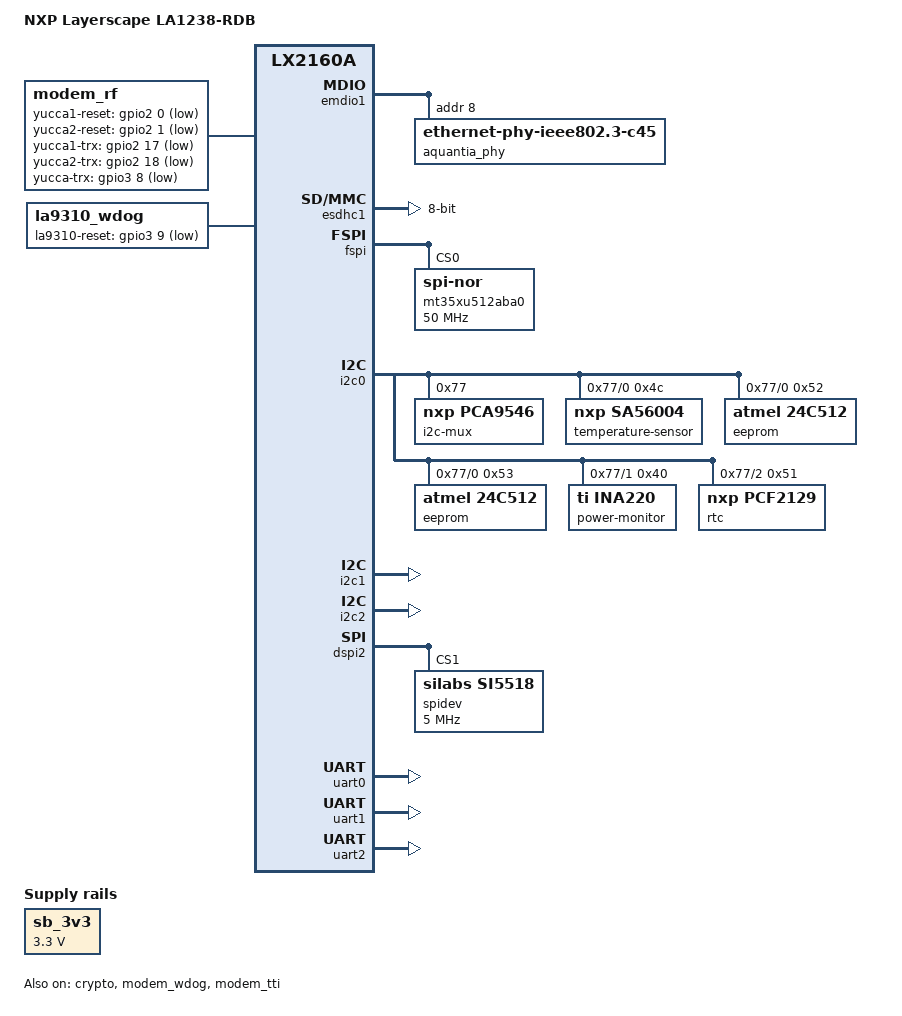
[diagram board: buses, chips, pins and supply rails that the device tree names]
// SPDX-License-Identifier: (GPL-2.0 OR MIT)
//
// Device Tree file for LA1238RDB
//
// Copyright 2021-2022 NXP

/dts-v1/;

#include "fsl-lx2160a.dtsi"

/ {
	model = "NXP Layerscape LA1238-RDB";
	compatible = "fsl,la1238-rdb", "fsl,lx2160a";

	aliases {
		crypto = &crypto;
		serial0 = &uart0;
		serial1 = &uart1;
	};

	chosen {
		stdout-path = "serial0:115200n8";
	};

	sb_3v3: regulator-sb3v3 {
		compatible = "regulator-fixed";
		regulator-name = "3v3_vbus";
		regulator-min-microvolt = <3300000>;
		regulator-max-microvolt = <3300000>;
		regulator-boot-on;
		regulator-always-on;
	};

	modem_wdog {
		compatible = "modem_wdog";
		reg = <0x0 0x0 0x0 0x0>;
		interrupt-cells = <3>;
		interrupts = <GIC_SPI 10 IRQ_TYPE_EDGE_RISING>;
		modem-reset-gpio = <&gpio3 6 GPIO_ACTIVE_LOW>;
		status = "okay";
	};

	modem_rf {
		compatible = "modem_rf";
		yucca1-reset-gpio = <&gpio2 0 GPIO_ACTIVE_LOW>;
		yucca2-reset-gpio = <&gpio2 1 GPIO_ACTIVE_LOW>;
		yucca1-trx-gpio = <&gpio2 17 GPIO_ACTIVE_LOW>;
		yucca2-trx-gpio = <&gpio2 18 GPIO_ACTIVE_LOW>;
		yucca-trx-gpio = <&gpio3 8 GPIO_ACTIVE_LOW>;
	};

	modem_tti {
		compatible = "modem_tti1";
		reg = <0x0 0x0 0x0 0x0>;
		interrupt-cells = <3>;
		interrupts = <GIC_SPI 0 IRQ_TYPE_EDGE_RISING>,
			     <GIC_SPI 1 IRQ_TYPE_EDGE_RISING>;
		status = "okay";
	};

	la9310_wdog: la9310_wdog@0 {
		compatible = "la9310_wdog";
		la9310-reset-gpio = <&gpio3 9 1>;
	};

	soc {
		ptp-timer@8b95000 {
			clocks = <&clockgen 0x04 0x01>;
			compatible = "fsl,dpaa2-ptp";
			fsl,cksel = <0x00>;
			fsl,extts-fifo;
			fsl,max-adj = <0xEE6B27F>;
			fsl,tclk-period = <0x0a>;
			fsl,tmr-add = <0xCCCCCCCD>;
			fsl,tmr-fiper1 = <0x3b9ac9f6>;
			fsl,tmr-fiper2 = <0x3b9ac9f6>;
			fsl,tmr-fiper3 = <0x3b9ac9f6>;
			fsl,tmr-prsc = <0xA>;
			little-endian;
			reg = <0x00 0x8b95000 0x00 0x100>;
		};

	};
};

&crypto {
	status = "okay";
};

&emdio1 {
	status = "okay";
};

&esdhc1 {
	mmc-hs200-1_8v;
	bus-width = <8>;
	status = "okay";
};

&fspi {
	status = "okay";

	mt35xu512aba0: flash@0 {
		#address-cells = <1>;
		#size-cells = <1>;
		compatible = "jedec,spi-nor";
		m25p,fast-read;
		spi-max-frequency = <50000000>;
		reg = <0>;
		spi-rx-bus-width = <8>;
		spi-tx-bus-width = <8>;
	};
};

&i2c0 {
	status = "okay";
	i2c-mux@77 {
		compatible = "nxp,pca9546";
		reg = <0x77>;
		#address-cells = <1>;
		#size-cells = <0>;
		i2c-mux-never-disable;

		i2c@0 {
			#address-cells = <1>;
			#size-cells = <0>;
			reg = <0>;

			temperature-sensor@4c {
				compatible = "nxp,sa56004";
				reg = <0x4c>;
			};

			eeprom@52 {
				compatible = "atmel,24c512";
				reg = <0x52>;
			};

			eeprom@53 {
				compatible = "atmel,24c512";
				reg = <0x53>;
			};
		};

		i2c@1 {
			#address-cells = <1>;
			#size-cells = <0>;
			reg = <1>;

			power-monitor@40 {
				compatible = "ti,ina220";
				reg = <0x40>;
				shunt-resistor = <500>;
			};
		};

		i2c@2 {
			#address-cells = <1>;
			#size-cells = <0>;
			reg = <2>;

			rtc@51 {
				compatible = "nxp,pcf2129";
				reg = <0x51>;
			};
		};
	};
};

&i2c1 {
	status = "okay";
};

&i2c2 {
	status = "okay";
};

&dspi2 {
	status = "okay";
	spidev@1 {
		#address-cells = <1>;
		#size-cells = <1>;
		compatible = "silabs,si5518";
		reg = <1>; /* CS1 */
		spi-max-frequency = <5000000>;
	};
};

&uart0 {
	status = "okay";
};

&uart1 {
	status = "okay";
};

&uart2 {
	status = "okay";
};

&emdio1 {
	aquantia_phy: ethernet-phy@8 {
		compatible = "ethernet-phy-ieee802.3-c45";
		interrupts = <GIC_SPI 11 IRQ_TYPE_LEVEL_HIGH>;
		reg = <0x8>;
	};
};

&dpmac3 {
	phy-handle = <&aquantia_phy>;
	phy-connection-type = "usxgmii";
};

&dpmac5 {
};

&map0 {
    trip = <&cluster6_7_alert>;
    cooling-device =
        <&cpu0 THERMAL_NO_LIMIT THERMAL_NO_LIMIT>,
        <&cpu100 THERMAL_NO_LIMIT THERMAL_NO_LIMIT>,
        <&cpu200 THERMAL_NO_LIMIT THERMAL_NO_LIMIT>,
        <&cpu300 THERMAL_NO_LIMIT THERMAL_NO_LIMIT>,
        <&cpu400 THERMAL_NO_LIMIT THERMAL_NO_LIMIT>,
        <&cpu500 THERMAL_NO_LIMIT THERMAL_NO_LIMIT>,
        <&cpu600 THERMAL_NO_LIMIT THERMAL_NO_LIMIT>,
        <&cpu700 THERMAL_NO_LIMIT THERMAL_NO_LIMIT>;
};

&pcie1 {
	compatible = "fsl,ls2088a-pcie";
	reg = <0x00 0x03400000 0x0 0x00100000   /* controller registers */
	       0x80 0x00000000 0x0 0x00002000>; /* configuration space */
	reg-names = "regs", "config";
	interrupts = <GIC_SPI 108 IRQ_TYPE_LEVEL_HIGH>, /* AER interrupt */
		     <GIC_SPI 108 IRQ_TYPE_LEVEL_HIGH>, /* PME interrupt */
		     <GIC_SPI 108 IRQ_TYPE_LEVEL_HIGH>; /* controller interrupt */
	interrupt-names = "aer", "pme", "intr";
	#address-cells = <3>;
	#size-cells = <2>;
	device_type = "pci";
	dma-coherent;
	num-viewport = <8>;
	bus-range = <0x0 0xff>;
	ranges = <0x81000000 0x0 0x00000000 0x80 0x00010000 0x0 0x00010000
		  0x82000000 0x0 0x40000000 0x80 0x40000000 0x0 0x40000000>; /* non-prefetchable memory */
	msi-parent = <&its>;
	iommu-map = <0 &smmu 0 1>; /* This is fixed-up by u-boot */
	#interrupt-cells = <1>;
	interrupt-map-mask = <0 0 0 7>;
	interrupt-map = <0000 0 0 1 &gic 0 0 GIC_SPI 109 IRQ_TYPE_LEVEL_HIGH>,
			<0000 0 0 2 &gic 0 0 GIC_SPI 110 IRQ_TYPE_LEVEL_HIGH>,
			<0000 0 0 3 &gic 0 0 GIC_SPI 111 IRQ_TYPE_LEVEL_HIGH>,
			<0000 0 0 4 &gic 0 0 GIC_SPI 112 IRQ_TYPE_LEVEL_HIGH>;
	status = "disabled";
};

&pcie_ep1 {
	compatible = "fsl,lx2160ar2-pcie-ep", "fsl,ls-pcie-ep";
	reg = <0x00 0x03400000 0x0 0x00100000
	       0x80 0x00000000 0x8 0x00000000>;
	reg-names = "regs", "addr_space";
	num-ob-windows = <8>;
	num-ib-windows = <8>;
	status = "disabled";
};

&pcie2 {
	compatible = "fsl,ls2088a-pcie";
	reg = <0x00 0x03500000 0x0 0x00100000   /* controller registers */
	       0x88 0x00000000 0x0 0x00002000>; /* configuration space */
	reg-names = "regs", "config";
	interrupts = <GIC_SPI 113 IRQ_TYPE_LEVEL_HIGH>, /* AER interrupt */
		     <GIC_SPI 113 IRQ_TYPE_LEVEL_HIGH>, /* PME interrupt */
		     <GIC_SPI 113 IRQ_TYPE_LEVEL_HIGH>; /* controller interrupt */
	interrupt-names = "aer", "pme", "intr";
	#address-cells = <3>;
	#size-cells = <2>;
	device_type = "pci";
	dma-coherent;
	num-viewport = <8>;
	bus-range = <0x0 0xff>;
	ranges = <0x81000000 0x0 0x00000000 0x88 0x00010000 0x0 0x00010000
		  0x82000000 0x0 0x40000000 0x88 0x40000000 0x0 0x40000000>; /* non-prefetchable memory */
	msi-parent = <&its>;
	iommu-map = <0 &smmu 0 1>; /* This is fixed-up by u-boot */
	#interrupt-cells = <1>;
	interrupt-map-mask = <0 0 0 7>;
	interrupt-map = <0000 0 0 1 &gic 0 0 GIC_SPI 114 IRQ_TYPE_LEVEL_HIGH>,
			<0000 0 0 2 &gic 0 0 GIC_SPI 115 IRQ_TYPE_LEVEL_HIGH>,
			<0000 0 0 3 &gic 0 0 GIC_SPI 116 IRQ_TYPE_LEVEL_HIGH>,
			<0000 0 0 4 &gic 0 0 GIC_SPI 117 IRQ_TYPE_LEVEL_HIGH>;
	status = "disabled";
};

&pcie_ep2 {
	compatible = "fsl,lx2160ar2-pcie-ep", "fsl,ls-pcie-ep";
	reg = <0x00 0x03500000 0x0 0x00100000
	       0x88 0x00000000 0x8 0x00000000>;
	reg-names = "regs", "addr_space";
	num-ob-windows = <8>;
	num-ib-windows = <8>;
	status = "disabled";
};

&pcie3 {
	compatible = "fsl,ls2088a-pcie";
	reg = <0x00 0x03600000 0x0 0x00100000   /* controller registers */
	       0x90 0x00000000 0x0 0x00002000>; /* configuration space */
	reg-names = "regs", "config";
	interrupts = <GIC_SPI 118 IRQ_TYPE_LEVEL_HIGH>, /* AER interrupt */
		     <GIC_SPI 118 IRQ_TYPE_LEVEL_HIGH>, /* PME interrupt */
		     <GIC_SPI 118 IRQ_TYPE_LEVEL_HIGH>; /* controller interrupt */
	interrupt-names = "aer", "pme", "intr";
	#address-cells = <3>;
	#size-cells = <2>;
	device_type = "pci";
	dma-coherent;
	num-viewport = <256>;
	bus-range = <0x0 0xff>;
	ranges = <0x81000000 0x0 0x00000000 0x90 0x00010000 0x0 0x00010000
		  0x82000000 0x0 0x40000000 0x90 0x40000000 0x0 0x40000000>; /* non-prefetchable memory */
	msi-parent = <&its>;
	iommu-map = <0 &smmu 0 1>; /* This is fixed-up by u-boot */
	#interrupt-cells = <1>;
	interrupt-map-mask = <0 0 0 7>;
	interrupt-map = <0000 0 0 1 &gic 0 0 GIC_SPI 119 IRQ_TYPE_LEVEL_HIGH>,
			<0000 0 0 2 &gic 0 0 GIC_SPI 120 IRQ_TYPE_LEVEL_HIGH>,
			<0000 0 0 3 &gic 0 0 GIC_SPI 121 IRQ_TYPE_LEVEL_HIGH>,
			<0000 0 0 4 &gic 0 0 GIC_SPI 122 IRQ_TYPE_LEVEL_HIGH>;
	status = "disabled";
};

&pcie_ep3 {
	compatible = "fsl,lx2160ar2-pcie-ep", "fsl,ls-pcie-ep";
	reg = <0x00 0x03600000 0x0 0x00100000
	       0x90 0x00000000 0x8 0x00000000>;
	reg-names = "regs", "addr_space";
	num-ob-windows = <256>;
	num-ib-windows = <24>;
	status = "disabled";
};

&pcie4 {
	compatible = "fsl,ls2088a-pcie";
	reg = <0x00 0x03700000 0x0 0x00100000   /* controller registers */
	       0x98 0x00000000 0x0 0x00002000>; /* configuration space */
	reg-names = "regs", "config";
	interrupts = <GIC_SPI 123 IRQ_TYPE_LEVEL_HIGH>, /* AER interrupt */
		     <GIC_SPI 123 IRQ_TYPE_LEVEL_HIGH>, /* PME interrupt */
		     <GIC_SPI 123 IRQ_TYPE_LEVEL_HIGH>; /* controller interrupt */
	interrupt-names = "aer", "pme", "intr";
	#address-cells = <3>;
	#size-cells = <2>;
	device_type = "pci";
	dma-coherent;
	num-viewport = <8>;
	bus-range = <0x0 0xff>;
	ranges = <0x81000000 0x0 0x00000000 0x98 0x00010000 0x0 0x00010000
		  0x82000000 0x0 0x40000000 0x98 0x40000000 0x0 0x40000000>; /* non-prefetchable memory */
	msi-parent = <&its>;
	iommu-map = <0 &smmu 0 1>; /* This is fixed-up by u-boot */
	#interrupt-cells = <1>;
	interrupt-map-mask = <0 0 0 7>;
	interrupt-map = <0000 0 0 1 &gic 0 0 GIC_SPI 124 IRQ_TYPE_LEVEL_HIGH>,
			<0000 0 0 2 &gic 0 0 GIC_SPI 125 IRQ_TYPE_LEVEL_HIGH>,
			<0000 0 0 3 &gic 0 0 GIC_SPI 126 IRQ_TYPE_LEVEL_HIGH>,
			<0000 0 0 4 &gic 0 0 GIC_SPI 127 IRQ_TYPE_LEVEL_HIGH>;
	status = "disabled";
};

&pcie_ep4 {
	compatible = "fsl,lx2160ar2-pcie-ep", "fsl,ls-pcie-ep";
	reg = <0x00 0x03700000 0x0 0x00100000
	       0x98 0x00000000 0x8 0x00000000>;
	reg-names = "regs", "addr_space";
	num-ob-windows = <8>;
	num-ib-windows = <8>;
	status = "disabled";
};

&pcie5 {
	compatible = "fsl,ls2088a-pcie";
	reg = <0x00 0x03800000 0x0 0x00100000   /* controller registers */
	       0xa0 0x00000000 0x0 0x00002000>; /* configuration space */
	reg-names = "regs", "config";
	interrupts = <GIC_SPI 128 IRQ_TYPE_LEVEL_HIGH>, /* AER interrupt */
		     <GIC_SPI 128 IRQ_TYPE_LEVEL_HIGH>, /* PME interrupt */
		     <GIC_SPI 128 IRQ_TYPE_LEVEL_HIGH>; /* controller interrupt */
	interrupt-names = "aer", "pme", "intr";
	#address-cells = <3>;
	#size-cells = <2>;
	device_type = "pci";
	dma-coherent;
	num-viewport = <256>;
	bus-range = <0x0 0xff>;
	ranges = <0x81000000 0x0 0x00000000 0xa0 0x00010000 0x0 0x00010000
		  0x82000000 0x0 0x40000000 0xa0 0x40000000 0x0 0x40000000>; /* non-prefetchable memory */
	msi-parent = <&its>;
	iommu-map = <0 &smmu 0 1>; /* This is fixed-up by u-boot */
	#interrupt-cells = <1>;
	interrupt-map-mask = <0 0 0 7>;
	interrupt-map = <0000 0 0 1 &gic 0 0 GIC_SPI 129 IRQ_TYPE_LEVEL_HIGH>,
			<0000 0 0 2 &gic 0 0 GIC_SPI 130 IRQ_TYPE_LEVEL_HIGH>,
			<0000 0 0 3 &gic 0 0 GIC_SPI 131 IRQ_TYPE_LEVEL_HIGH>,
			<0000 0 0 4 &gic 0 0 GIC_SPI 132 IRQ_TYPE_LEVEL_HIGH>;
	status = "disabled";
};

&pcie_ep5 {
	compatible = "fsl,lx2160ar2-pcie-ep", "fsl,ls-pcie-ep";
	reg = <0x00 0x03800000 0x0 0x00100000
	       0xa0 0x00000000 0x8 0x00000000>;
	reg-names = "regs", "addr_space";
	num-ob-windows = <256>;
	num-ib-windows = <24>;
	status = "disabled";
};

&pcie6 {
	compatible = "fsl,ls2088a-pcie";
	reg = <0x00 0x03900000 0x0 0x00100000   /* controller registers */
	       0xa8 0x00000000 0x0 0x00002000>; /* configuration space */
	reg-names = "regs", "config";
	interrupts = <GIC_SPI 103 IRQ_TYPE_LEVEL_HIGH>, /* AER interrupt */
		     <GIC_SPI 103 IRQ_TYPE_LEVEL_HIGH>, /* PME interrupt */
		     <GIC_SPI 103 IRQ_TYPE_LEVEL_HIGH>; /* controller interrupt */
	interrupt-names = "aer", "pme", "intr";
	#address-cells = <3>;
	#size-cells = <2>;
	device_type = "pci";
	dma-coherent;
	num-viewport = <8>;
	bus-range = <0x0 0xff>;
	ranges = <0x81000000 0x0 0x00000000 0xa8 0x00010000 0x0 0x00010000
		  0x82000000 0x0 0x40000000 0xa8 0x40000000 0x0 0x40000000>; /* non-prefetchable memory */
	msi-parent = <&its>;
	iommu-map = <0 &smmu 0 1>; /* This is fixed-up by u-boot */
	#interrupt-cells = <1>;
	interrupt-map-mask = <0 0 0 7>;
	interrupt-map = <0000 0 0 1 &gic 0 0 GIC_SPI 104 IRQ_TYPE_LEVEL_HIGH>,
			<0000 0 0 2 &gic 0 0 GIC_SPI 105 IRQ_TYPE_LEVEL_HIGH>,
			<0000 0 0 3 &gic 0 0 GIC_SPI 106 IRQ_TYPE_LEVEL_HIGH>,
			<0000 0 0 4 &gic 0 0 GIC_SPI 107 IRQ_TYPE_LEVEL_HIGH>;
	status = "disabled";
};

&pcie_ep6 {
	compatible = "fsl,lx2160ar2-pcie-ep", "fsl,ls-pcie-ep";
	reg = <0x00 0x03900000 0x0 0x00100000
	       0xa8 0x00000000 0x8 0x00000000>;
	reg-names = "regs", "addr_space";
	num-ob-windows = <8>;
	num-ib-windows = <8>;
	status = "disabled";
};
